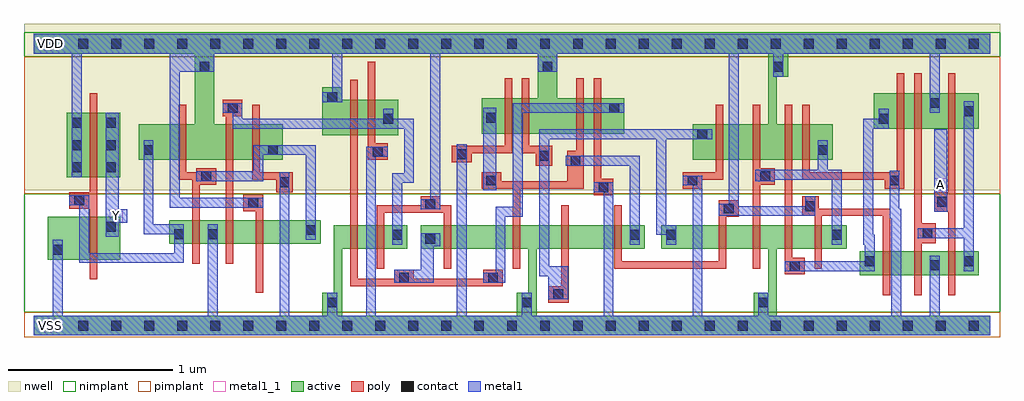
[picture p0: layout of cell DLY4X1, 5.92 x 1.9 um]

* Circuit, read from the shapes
.subckt DLY4X1 A VDD VSS Y
M1 Y n1 VSS VSS nfet w=0.26u l=0.045u
M2 VSS n2 n1 VSS nfet w=0.145u l=0.045u
M3 n3 n4 VSS VSS nfet w=0.145u l=0.045u
M4 n2 VDD n3 VSS nfet w=0.145u l=0.045u
M5 n5 n6 VSS VSS nfet w=0.145u l=0.045u
M6 n4 VDD n5 VSS nfet w=0.145u l=0.045u
M7 n7 VDD n6 VSS nfet w=0.145u l=0.045u
M8 VSS n8 n7 VSS nfet w=0.145u l=0.045u
M9 n9 n10 VSS VSS nfet w=0.145u l=0.045u
M10 n8 VDD n9 VSS nfet w=0.145u l=0.045u
M11 n11 VDD n10 VSS nfet w=0.145u l=0.045u
M12 VSS n12 n11 VSS nfet w=0.145u l=0.045u
M13 n13 n14 VSS VSS nfet w=0.145u l=0.045u
M14 n12 VDD n13 VSS nfet w=0.145u l=0.045u
M15 n15 VDD n14 VSS nfet w=0.145u l=0.045u
M16 VSS n16 n15 VSS nfet w=0.145u l=0.045u
M17 n16 A VSS VSS nfet w=0.145u l=0.045u
M18 Y n1 VDD VDD pfet w=0.39u l=0.045u
M19 VDD n2 n1 VDD pfet w=0.215u l=0.045u
M20 n17 n4 VDD VDD pfet w=0.215u l=0.045u
M21 n2 VSS n17 VDD pfet w=0.215u l=0.045u
M22 n18 n6 VDD VDD pfet w=0.215u l=0.045u
M23 n4 VSS n18 VDD pfet w=0.215u l=0.045u
M24 n19 VSS n8 VDD pfet w=0.215u l=0.045u
M25 VDD n10 n19 VDD pfet w=0.215u l=0.045u
M26 n20 n8 VDD VDD pfet w=0.215u l=0.045u
M27 n6 VSS n20 VDD pfet w=0.215u l=0.045u
M28 n21 VSS n10 VDD pfet w=0.215u l=0.045u
M29 VDD n12 n21 VDD pfet w=0.215u l=0.045u
M30 n22 n14 VDD VDD pfet w=0.215u l=0.045u
M31 n12 VSS n22 VDD pfet w=0.215u l=0.045u
M32 n23 VSS n14 VDD pfet w=0.215u l=0.045u
M33 VDD n16 n23 VDD pfet w=0.215u l=0.045u
M34 n16 A VDD VDD pfet w=0.215u l=0.045u
.ends

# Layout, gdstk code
import gdstk
lib = gdstk.Library(unit=1e-6, precision=5e-10)
def R(c, l, rs):  # rectangles x0, y0, x1, y1
    for r in rs: c.add(gdstk.rectangle(r[:2], r[2:], *l))
def A(c, l, x, y, w, h, nx, ny, dx, dy):  # array of equal rectangles
    R(c, l, [(x+i*dx, y+j*dy, x+i*dx+w, y+j*dy+h) for i in range(nx) for j in range(ny)])
def P(c, l, *ps):  # polygons
    for p in ps: c.add(gdstk.Polygon(p, *l))
active = (1, 0)
nwell = (2, 0)
poly = (3, 0)
nimplant = (4, 0)
pimplant = (5, 0)
contact = (6, 0)
metal1 = (7, 0)
metal1_1 = (7, 1)

dly4x1 = lib.new_cell('DLY4X1')
R(dly4x1, active, [(5.01,0.305,5.73,0.45), (0.085,0.4,0.525,0.66), (0.82,0.495,1.74,0.64), (0.2,0.9,0.525,1.29), (5.095,1.195,5.73,1.41)])
P(dly4x1, active, [(0,1.77),(5.8,1.77),(5.8,1.65),(4.575,1.65),(4.575,1.51),(4.505,1.51),(4.505,1.22),(4.845,1.22),(4.845,1.005),(3.995,1.005),(3.995,1.22),(4.455,1.22),(4.455,1.65),(3.175,1.65),(3.175,1.38),(3.58,1.38),(3.58,1.165),(2.715,1.165),(2.715,1.38),(3.055,1.38),(3.055,1.65),(1.095,1.65),(1.095,1.22),(1.51,1.22),(1.51,1.005),(0.635,1.005),(0.635,1.22),(0.975,1.22),(0.975,1.65),(0,1.65)],
  [(1.75,1.445),(1.87,1.445),(1.87,1.37),(2.21,1.37),(2.21,1.155),(1.75,1.155)],
  [(1.82,0.61),(2.265,0.61),(2.265,0.465),(1.87,0.465),(1.87,0.06),(2.93,0.06),(2.93,0.2),(3,0.2),(3,0.465),(2.345,0.465),(2.345,0.61),(3.705,0.61),(3.705,0.465),(3.05,0.465),(3.05,0.06),(4.365,0.06),(4.365,0.2),(4.455,0.2),(4.455,0.465),(3.805,0.465),(3.805,0.61),(4.93,0.61),(4.93,0.465),(4.505,0.465),(4.505,0.06),(5.8,0.06),(5.8,-0.06),(0,-0.06),(0,0.06),(1.75,0.06),(1.75,0.2),(1.82,0.2)])
R(dly4x1, nwell, [(-0.06,0.82,5.86,1.83)])
P(dly4x1, poly, [(0.34,1.41),(0.385,1.41),(0.385,0.28),(0.34,0.28),(0.34,0.71),(0.215,0.71),(0.215,0.81),(0.34,0.81)],
  [(0.88,1.34),(0.925,1.34),(0.925,0.93),(0.985,0.93),(0.985,0.955),(1.105,0.955),(1.105,0.855),(1.005,0.855),(1.005,0.375),(0.96,0.375),(0.96,0.885),(0.88,0.885)],
  [(1.92,1.49),(1.965,1.49),(1.965,0.285),(2.185,0.285),(2.185,0.34),(2.305,0.34),(2.305,0.285),(2.725,0.285),(2.725,0.34),(2.845,0.34),(2.845,0.24),(1.92,0.24)],
  [(2.025,1.6),(2.07,1.6),(2.07,1.105),(2.145,1.105),(2.145,1.005),(2.025,1.005)],
  [(2.855,1.5),(2.9,1.5),(2.9,1.045),(2.655,1.045),(2.655,0.99),(2.535,0.99),(2.535,1.09),(2.855,1.09)],
  [(2.96,1.5),(3.005,1.5),(3.005,1.09),(3.145,1.09),(3.145,0.97),(3.045,0.97),(3.045,1.045),(2.96,1.045)],
  [(1.145,1.37),(1.265,1.37),(1.265,1.27),(1.21,1.27),(1.21,0.375),(1.165,0.375),(1.165,1.27),(1.145,1.27)],
  [(1.325,1.34),(1.37,1.34),(1.37,0.93),(1.57,0.93),(1.57,0.81),(1.47,0.81),(1.47,0.885),(1.325,0.885)],
  [(3.29,1.5),(3.335,1.5),(3.335,0.83),(2.95,0.83),(2.95,0.345),(2.905,0.345),(2.905,0.83),(2.715,0.83),(2.715,0.93),(2.835,0.93),(2.835,0.875),(3.235,0.875),(3.235,1.06),(3.29,1.06)],
  [(3.395,1.5),(3.44,1.5),(3.44,0.89),(3.515,0.89),(3.515,0.79),(3.395,0.79)],
  [(4.135,1.34),(4.18,1.34),(4.18,0.885),(4.055,0.885),(4.055,0.83),(3.935,0.83),(3.935,0.93),(4.135,0.93)],
  [(4.36,1.34),(4.405,1.34),(4.405,0.955),(4.495,0.955),(4.495,0.855),(4.405,0.855),(4.405,0.345),(4.36,0.345)],
  [(4.555,1.34),(4.6,1.34),(4.6,0.41),(4.675,0.41),(4.675,0.31),(4.555,0.31)],
  [(4.66,1.34),(4.705,1.34),(4.705,0.93),(5.235,0.93),(5.235,1.53),(5.28,1.53),(5.28,0.83),(5.16,0.83),(5.16,0.885),(4.66,0.885)],
  [(5.34,1.53),(5.385,1.53),(5.385,0.62),(5.47,0.62),(5.47,0.5),(5.385,0.5),(5.385,0.185),(5.34,0.185)],
  [(5.545,1.53),(5.59,1.53),(5.59,0.185),(5.545,0.185),(5.545,0.69),(5.46,0.69),(5.46,0.81),(5.545,0.81)],
  [(4.66,0.785),(4.76,0.785),(4.76,0.71),(5.195,0.71),(5.195,0.185),(5.15,0.185),(5.15,0.665),(4.78,0.665),(4.78,0.345),(4.735,0.345),(4.735,0.665),(4.66,0.665)],
  [(1.27,0.795),(1.39,0.795),(1.39,0.2),(1.345,0.2),(1.345,0.695),(1.27,0.695)],
  [(2.345,0.785),(2.465,0.785),(2.465,0.73),(2.53,0.73),(2.53,0.345),(2.485,0.345),(2.485,0.685),(2.125,0.685),(2.125,0.345),(2.08,0.345),(2.08,0.73),(2.345,0.73)],
  [(3.52,0.73),(3.565,0.73),(3.565,0.39),(4.155,0.39),(4.155,0.76),(4.275,0.76),(4.275,0.66),(4.2,0.66),(4.2,0.345),(3.52,0.345)],
  [(3.2,0.73),(3.245,0.73),(3.245,0.14),(3.12,0.14),(3.12,0.24),(3.2,0.24)])
R(dly4x1, nimplant, [(-0.06,0.08,5.86,0.8), (-0.06,1.63,5.86,1.78)])
R(dly4x1, pimplant, [(-0.06,-0.07,5.86,0.08), (-0.06,0.8,5.86,1.63)])
A(dly4x1, contact, 0.07, -0.03, 0.06, 0.06, 29, 2, 0.2, 1.71)
A(dly4x1, contact, 0.23, 0.93, 0.06, 0.06, 1, 3, 0, 0.135)
A(dly4x1, contact, 0.435, 0.93, 0.06, 0.06, 1, 3, 0, 0.135)
R(dly4x1, contact, [(1.78,0.11,1.84,0.17), (2.96,0.11,3.02,0.17), (4.395,0.11,4.455,0.17), (3.15,0.16,3.21,0.22), (2.215,0.26,2.275,0.32), (2.755,0.26,2.815,0.32), (4.585,0.33,4.645,0.39), (5.435,0.335,5.495,0.395), (5.04,0.36,5.1,0.42), (5.64,0.36,5.7,0.42), (0.115,0.43,0.175,0.49), (2.375,0.495,2.435,0.555), (2.175,0.52,2.235,0.58), (3.615,0.52,3.675,0.58), (3.835,0.52,3.895,0.58), (4.84,0.52,4.9,0.58), (0.85,0.525,0.91,0.585), (1.055,0.525,1.115,0.585), (5.39,0.53,5.45,0.59), (1.65,0.55,1.71,0.61), (0.435,0.57,0.495,0.63), (4.185,0.68,4.245,0.74), (4.68,0.695,4.74,0.755), (2.375,0.705,2.435,0.765), (1.3,0.715,1.36,0.775), (5.48,0.72,5.54,0.78), (0.245,0.73,0.305,0.79), (3.425,0.81,3.485,0.87), (1.49,0.84,1.55,0.9), (2.745,0.85,2.805,0.91), (3.965,0.85,4.025,0.91), (5.19,0.85,5.25,0.91), (1.015,0.875,1.075,0.935), (4.405,0.875,4.465,0.935), (3.255,0.97,3.315,1.03), (3.065,1,3.125,1.06), (2.565,1.01,2.625,1.07), (2.055,1.025,2.115,1.085), (0.665,1.035,0.725,1.095), (1.42,1.035,1.48,1.095), (4.755,1.035,4.815,1.095), (4.025,1.13,4.085,1.19), (2.12,1.225,2.18,1.285), (5.125,1.225,5.185,1.285), (2.745,1.23,2.805,1.29), (5.64,1.27,5.7,1.33), (1.175,1.29,1.235,1.35), (3.49,1.29,3.55,1.35), (5.435,1.32,5.495,1.38), (1.78,1.355,1.84,1.415), (1.005,1.54,1.065,1.6), (3.085,1.54,3.145,1.6), (4.485,1.54,4.545,1.6)])
R(dly4x1, metal1, [(5.46,0.69,5.54,1.19), (2.725,0.82,2.805,1.32)])
P(dly4x1, metal1, [(0,1.77),(5.8,1.77),(5.8,1.65),(5.495,1.65),(5.495,1.29),(5.435,1.29),(5.435,1.65),(4.545,1.65),(4.545,1.51),(4.485,1.51),(4.485,1.65),(4.275,1.65),(4.275,0.725),(4.68,0.725),(4.68,0.785),(4.74,0.785),(4.74,0.665),(4.155,0.665),(4.155,0.74),(4.215,0.74),(4.215,1.65),(3.175,1.65),(3.175,1.54),(3.055,1.54),(3.055,1.65),(2.465,1.65),(2.465,0.705),(2.345,0.705),(2.345,0.765),(2.405,0.765),(2.405,1.65),(1.87,1.65),(1.87,1.355),(1.75,1.355),(1.75,1.415),(1.81,1.415),(1.81,1.65),(1.095,1.65),(1.095,1.54),(0.885,1.54),(0.885,0.775),(1.39,0.775),(1.39,0.715),(0.825,0.715),(0.825,1.65),(0.29,1.65),(0.29,0.9),(0.23,0.9),(0.23,1.65),(0,1.65)],
  [(0.435,1.29),(0.515,1.29),(0.515,0.705),(0.565,0.705),(0.565,0.625),(0.515,0.625),(0.515,0.54),(0.435,0.54)],
  [(0.215,0.79),(0.335,0.79),(0.335,0.44),(0.85,0.44),(0.85,0.555),(0.665,0.555),(0.665,1.125),(0.725,1.125),(0.725,0.615),(0.91,0.615),(0.91,0.38),(0.275,0.38),(0.275,0.73),(0.215,0.73)],
  [(2.015,1.085),(2.145,1.085),(2.145,1.025),(2.075,1.025),(2.075,0.06),(2.565,0.06),(2.565,1.1),(2.625,1.1),(2.625,0.06),(2.96,0.06),(2.96,0.2),(3.02,0.2),(3.02,0.06),(3.455,0.06),(3.455,0.81),(3.395,0.81),(3.395,0.87),(3.515,0.87),(3.515,0.06),(3.995,0.06),(3.995,0.85),(3.935,0.85),(3.935,0.91),(4.055,0.91),(4.055,0.06),(4.395,0.06),(4.395,0.2),(4.455,0.2),(4.455,0.06),(5.2,0.06),(5.2,0.65),(5.19,0.65),(5.19,0.94),(5.25,0.94),(5.25,0.71),(5.26,0.71),(5.26,0.06),(5.435,0.06),(5.435,0.425),(5.495,0.425),(5.495,0.06),(5.8,0.06),(5.8,-0.06),(0,-0.06),(0,0.06),(0.115,0.06),(0.115,0.52),(0.175,0.52),(0.175,0.06),(1.055,0.06),(1.055,0.615),(1.115,0.615),(1.115,0.06),(1.49,0.06),(1.49,0.93),(1.55,0.93),(1.55,0.06),(1.78,0.06),(1.78,0.2),(1.84,0.2),(1.84,0.06),(2.015,0.06)],
  [(1.145,1.35),(1.265,1.35),(1.265,1.255),(2.12,1.255),(2.12,1.315),(2.18,1.315),(2.18,1.255),(2.305,1.255),(2.305,0.865),(2.235,0.865),(2.235,0.49),(2.175,0.49),(2.175,0.925),(2.245,0.925),(2.245,1.195),(1.205,1.195),(1.205,1.29),(1.145,1.29)],
  [(1.33,1.095),(1.71,1.095),(1.71,0.52),(1.65,0.52),(1.65,1.035),(1.39,1.035),(1.39,0.875),(0.985,0.875),(0.985,0.935),(1.33,0.935)],
  [(2.905,1.35),(3.58,1.35),(3.58,1.29),(2.965,1.29),(2.965,0.66),(2.86,0.66),(2.86,0.26),(2.725,0.26),(2.725,0.32),(2.8,0.32),(2.8,0.72),(2.905,0.72)],
  [(3.065,1.19),(4.115,1.19),(4.115,1.13),(3.835,1.13),(3.835,0.61),(3.895,0.61),(3.895,0.49),(3.835,0.49),(3.835,0.55),(3.775,0.55),(3.775,1.13),(3.125,1.13),(3.125,0.36),(3.24,0.36),(3.24,0.16),(3.12,0.16),(3.12,0.3),(3.065,0.3)],
  [(2.345,0.56),(2.465,0.56),(2.465,0.48),(2.425,0.48),(2.425,0.26),(2.185,0.26),(2.185,0.34),(2.345,0.34)],
  [(3.225,1.03),(3.675,1.03),(3.675,0.49),(3.615,0.49),(3.615,0.97),(3.225,0.97)],
  [(5.125,1.315),(5.185,1.315),(5.185,1.195),(5.09,1.195),(5.09,0.55),(5.1,0.55),(5.1,0.33),(4.555,0.33),(4.555,0.39),(5.04,0.39),(5.04,0.49),(5.03,0.49),(5.03,1.255),(5.125,1.255)],
  [(4.755,1.125),(4.815,1.125),(4.815,0.945),(4.9,0.945),(4.9,0.49),(4.84,0.49),(4.84,0.885),(4.495,0.885),(4.495,0.875),(4.375,0.875),(4.375,0.945),(4.755,0.945)],
  [(5.64,1.36),(5.7,1.36),(5.7,0.33),(5.64,0.33),(5.64,0.53),(5.36,0.53),(5.36,0.59),(5.64,0.59)])
R(dly4x1, metal1_1, [(0.06,-0.04,0.14,0.04), (0.46,0.625,0.54,0.705), (5.46,0.815,5.54,0.895), (0.06,1.67,0.14,1.75)])
dly4x1.add(gdstk.Label('Y', (0.5,0.665), layer=7, texttype=1))
dly4x1.add(gdstk.Label('A', (5.5,0.855), layer=7, texttype=1))
dly4x1.add(gdstk.Label('VDD', (0.1,1.71), layer=7, texttype=1))
dly4x1.add(gdstk.Label('VSS', (0.1,0), layer=7, texttype=1))
dly4x1.add(gdstk.Label('DLY4X1', (0,0), layer=63, texttype=0))

lib.write_gds('DLY4X1.gds')
